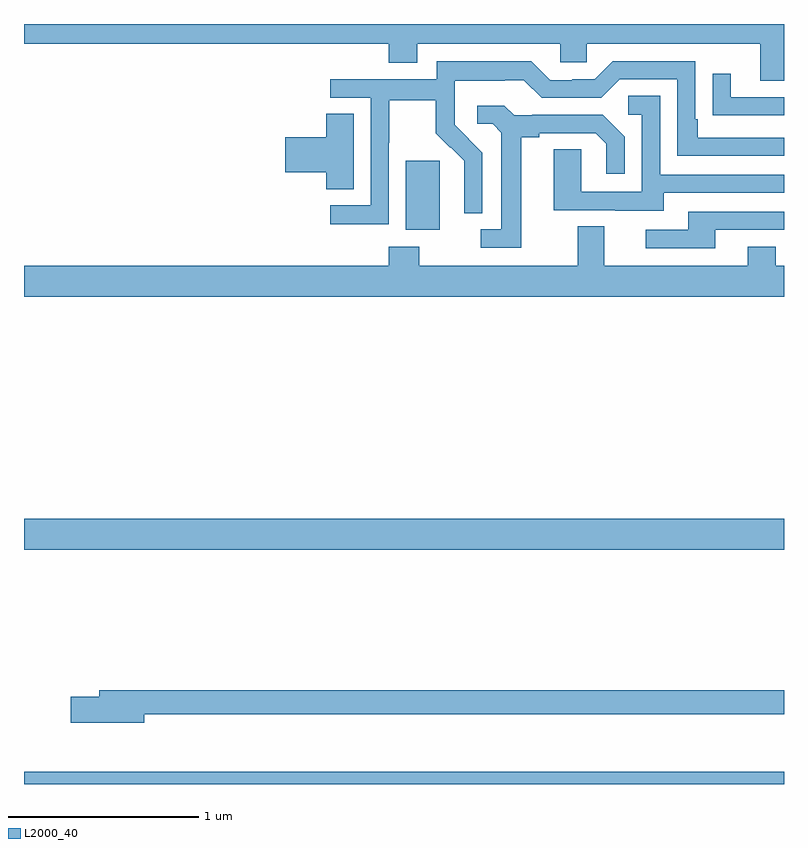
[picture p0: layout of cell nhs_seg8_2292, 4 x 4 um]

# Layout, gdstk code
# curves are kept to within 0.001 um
import gdstk
lib = gdstk.Library(unit=1e-6, precision=1e-09)
def R(c, l, rs):  # rectangles x0, y0, x1, y1
    for r in rs: c.add(gdstk.rectangle(r[:2], r[2:], *l))
def P(c, l, *ps):  # polygons
    for p in ps: c.add(gdstk.Polygon(p, *l))
L2000_40 = (2000, 40)

nhs_seg8_2292 = lib.new_cell('nhs_seg8_2292')
R(nhs_seg8_2292, L2000_40, [(255,1149.9,259,1149.964), (255,1151.132,259,1151.296), (257.009,1152.818,257.188,1153.179)])
P(nhs_seg8_2292, L2000_40, [(259,1153.9),(255,1153.9),(255,1153.796),(256.919,1153.796),(256.919,1153.697),(257.071,1153.697),(257.071,1153.796),(257.823,1153.796),(257.823,1153.698),(257.961,1153.698),(257.961,1153.796),(258.875,1153.796),(258.875,1153.602),(259,1153.602)],
  [(256.92,1153.276),(256.923,1153.276),(256.923,1153.5),(257.167,1153.5),(257.167,1153.325),(257.244,1153.248),(257.247,1153.251),(257.318,1153.181),(257.318,1153.058),(257.316,1153.058),(257.316,1152.904),(257.412,1152.904),(257.412,1153.222),(257.266,1153.37),(257.266,1153.467),(257.268,1153.467),(257.268,1153.601),(257.531,1153.601),(257.531,1153.605),(257.631,1153.605),(257.724,1153.512),(258.039,1153.512),(258.135,1153.608),(258.438,1153.608),(258.438,1153.206),(259,1153.206),(259,1153.302),(258.547,1153.302),(258.547,1153.399),(258.534,1153.399),(258.534,1153.704),(258.099,1153.704),(258.003,1153.608),(257.885,1153.608),(257.885,1153.605),(257.769,1153.605),(257.669,1153.705),(257.172,1153.705),(257.172,1153.608),(256.611,1153.608),(256.611,1153.512),(256.824,1153.512),(256.824,1152.945),(256.611,1152.945),(256.611,1152.847),(256.92,1152.847)],
  [(259,1153.515),(258.721,1153.515),(258.721,1153.639),(258.625,1153.639),(258.625,1153.42),(258.727,1153.42),(258.727,1153.419),(259,1153.419)],
  [(258.367,1153.011),(259,1153.011),(259,1153.107),(258.348,1153.107),(258.348,1153.523),(258.18,1153.523),(258.18,1153.422),(258.252,1153.422),(258.252,1153.017),(257.934,1153.017),(257.934,1153.241),(257.789,1153.241),(257.789,1152.921),(258.113,1152.921),(258.113,1152.917),(258.367,1152.917)],
  [(257.617,1153.304),(257.713,1153.304),(257.713,1153.326),(258.008,1153.326),(258.065,1153.269),(258.065,1153.113),(258.162,1153.113),(258.162,1153.306),(258.046,1153.422),(257.674,1153.422),(257.674,1153.419),(257.58,1153.419),(257.528,1153.471),(257.385,1153.471),(257.385,1153.374),(257.466,1153.374),(257.513,1153.327),(257.513,1152.819),(257.403,1152.819),(257.403,1152.723),(257.617,1152.723)],
  [(256.735,1153.427),(256.592,1153.427),(256.592,1153.304),(256.374,1153.304),(256.374,1153.121),(256.592,1153.121),(256.592,1153.03),(256.735,1153.03)],
  [(258.637,1152.816),(259,1152.816),(259,1152.912),(258.497,1152.912),(258.497,1152.816),(258.273,1152.816),(258.273,1152.72),(258.637,1152.72)],
  [(259,1152.628),(258.957,1152.628),(258.957,1152.727),(258.809,1152.727),(258.809,1152.628),(258.055,1152.628),(258.055,1152.836),(257.915,1152.836),(257.915,1152.628),(257.079,1152.628),(257.079,1152.727),(256.919,1152.727),(256.919,1152.628),(255,1152.628),(255,1152.464),(259,1152.464)],
  [(255.634,1150.266),(259,1150.266),(259,1150.394),(255.395,1150.394),(255.395,1150.358),(255.246,1150.358),(255.246,1150.223),(255.634,1150.223)])

lib.write_gds('nhs_seg8_2292.gds')
